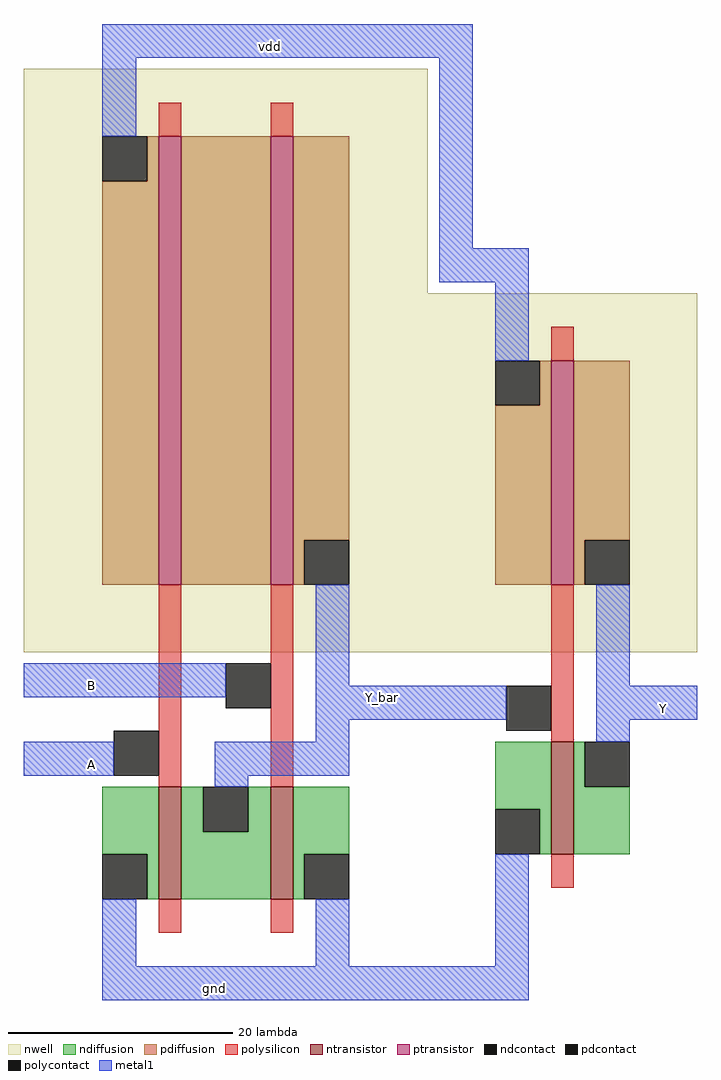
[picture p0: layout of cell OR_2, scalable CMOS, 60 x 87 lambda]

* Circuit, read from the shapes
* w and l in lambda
.subckt OR_2 A B Y Y_bar gnd vdd
M1 Y_bar A gnd VSUBS nfet w=10 l=2
M2 gnd B Y_bar VSUBS nfet w=10 l=2
M3 Y Y_bar gnd VSUBS nfet w=10 l=2
M4 n1 A vdd n2 pfet w=40 l=2
M5 Y_bar B n1 n2 pfet w=40 l=2
M6 Y Y_bar vdd n2 pfet w=20 l=2
.ends

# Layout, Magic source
magic
tech scmos
<< nwell >>
rect 0 158 36 178
rect 0 126 60 158
<< ntransistor >>
rect 12 104 14 114
rect 22 104 24 114
rect 47 108 49 118
<< ptransistor >>
rect 12 132 14 172
rect 22 132 24 172
rect 47 132 49 152
<< ndiffusion >>
rect 7 108 12 114
rect 11 104 12 108
rect 14 110 16 114
rect 20 110 22 114
rect 14 104 22 110
rect 24 108 29 114
rect 42 112 47 118
rect 46 108 47 112
rect 49 114 50 118
rect 49 108 54 114
rect 24 104 25 108
<< pdiffusion >>
rect 11 168 12 172
rect 7 132 12 168
rect 14 132 22 172
rect 24 136 29 172
rect 24 132 25 136
rect 46 148 47 152
rect 42 132 47 148
rect 49 136 54 152
rect 49 132 50 136
<< ndcontact >>
rect 7 104 11 108
rect 16 110 20 114
rect 42 108 46 112
rect 50 114 54 118
rect 25 104 29 108
<< pdcontact >>
rect 7 168 11 172
rect 25 132 29 136
rect 42 148 46 152
rect 50 132 54 136
<< polysilicon >>
rect 12 172 14 175
rect 22 172 24 175
rect 47 152 49 155
rect 12 114 14 132
rect 22 114 24 132
rect 47 118 49 132
rect 47 105 49 108
rect 12 101 14 104
rect 22 101 24 104
<< polycontact >>
rect 8 115 12 119
rect 18 121 22 125
rect 43 119 47 123
<< metal1 >>
rect 7 179 40 182
rect 7 172 10 179
rect 37 162 40 179
rect 37 159 45 162
rect 42 152 45 159
rect 0 122 18 125
rect 26 123 29 132
rect 51 123 54 132
rect 26 120 43 123
rect 0 115 8 118
rect 26 118 29 120
rect 51 120 60 123
rect 51 118 54 120
rect 17 115 29 118
rect 17 114 20 115
rect 7 98 10 104
rect 26 98 29 104
rect 42 98 45 108
rect 7 95 45 98
<< labels >>
rlabel metal1 6 123 6 123 1 B
rlabel metal1 6 116 6 116 1 A
rlabel metal1 17 96 17 96 1 gnd
rlabel metal1 32 122 32 122 7 Y_bar
rlabel metal1 57 121 57 121 7 Y
rlabel metal1 22 180 22 180 5 vdd
<< end >>
